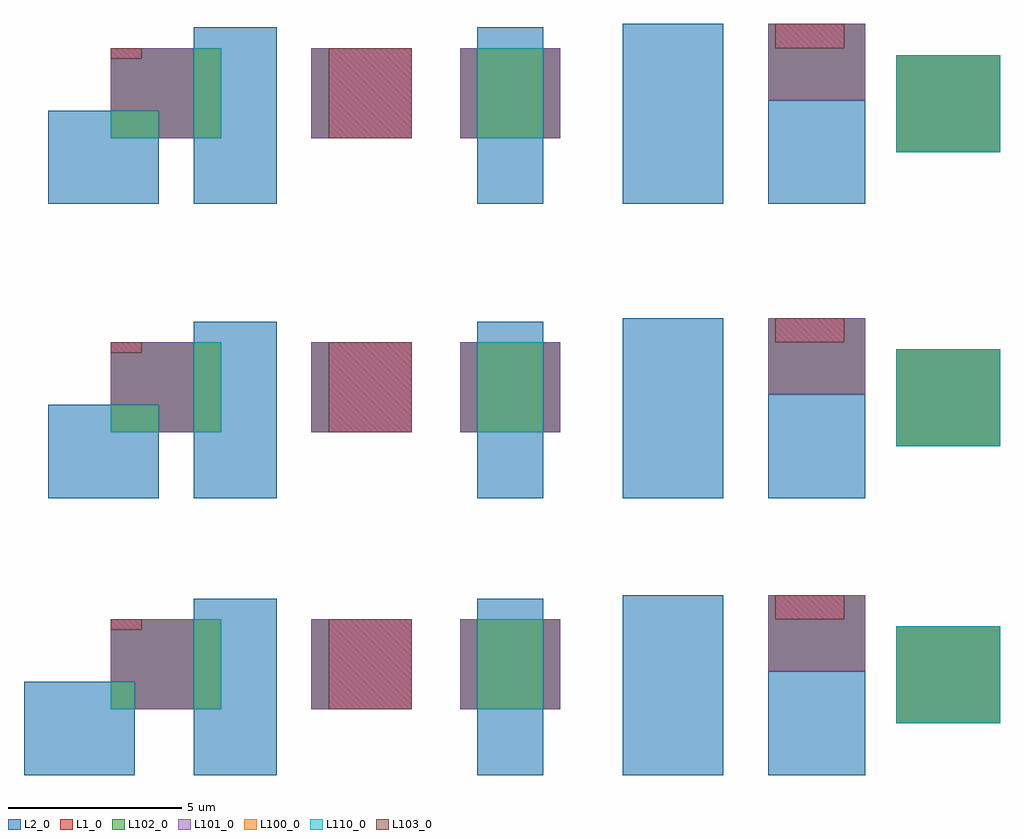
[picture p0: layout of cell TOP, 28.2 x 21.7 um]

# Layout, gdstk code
import gdstk
lib = gdstk.Library(unit=1e-6, precision=1e-09)
def R(c, l, rs):  # rectangles x0, y0, x1, y1
    for r in rs: c.add(gdstk.rectangle(r[:2], r[2:], *l))
def P(c, l, *ps):  # polygons
    for p in ps: c.add(gdstk.Polygon(p, *l))
L1_0 = (1, 0)
L2_0 = (2, 0)
L100_0 = (100, 0)
L101_0 = (101, 0)
L102_0 = (102, 0)
L103_0 = (103, 0)
L110_0 = (110, 0)

child1 = lib.new_cell('CHILD1')
R(child1, L1_0, [(22.7,0,25.7,2.8), (0,0.4,3.2,3), (5.8,0.4,8.7,3), (10.1,0.4,13,3), (19,1.5,21.8,3.7)])
R(child1, L100_0, [(22.7,0,25.7,2.8), (2.4,0.4,3.2,3), (10.6,0.4,12.5,3)])
R(child1, L101_0, [(5.8,0.4,8.7,3), (10.1,0.4,10.6,3), (12.5,0.4,13,3), (19,1.5,21.8,3.7)])
R(child1, L102_0, [(22.7,0,25.7,2.8), (5.8,0.4,6.3,3), (10.1,0.4,13,3)])
P(child1, L102_0, [(19,1.5),(19,3.7),(19.2,3.7),(19.2,3),(21.2,3),(21.2,3.7),(21.8,3.7),(21.8,1.5)],
  [(0,0.4),(0,2.7),(0.9,2.7),(0.9,3),(3.2,3),(3.2,0.4)])
R(child1, L103_0, [(6.3,0.4,8.7,3), (0,2.7,0.9,3), (19.2,3,21.2,3.7)])
R(child1, L110_0, [(22.7,0,25.7,2.8), (2.4,0.4,3.2,3), (10.6,0.4,12.5,3)])

subcell = lib.new_cell('SUBCELL')
R(subcell, L2_0, [(0,0,3.2,2.7), (4.9,0,7.3,5.1), (13.1,0,15,5.1), (17.3,0,20.2,5.2), (21.5,0,24.3,3), (25.2,1.5,28.2,4.3), (0.7,8,3.9,10.7), (4.9,8,7.3,13.1), (13.1,8,15,13.1), (17.3,8,20.2,13.2), (21.5,8,24.3,11), (25.2,9.5,28.2,12.3)])
R(subcell, L100_0, [(2.5,1.9,3.2,2.7), (2.5,9.9,3.9,10.7)])
P(subcell, L101_0, [(3.9,9.9),(3.9,10.7),(2.5,10.7),(2.5,12.5),(4.9,12.5),(4.9,9.9)],
  [(3.2,1.9),(3.2,2.7),(2.5,2.7),(2.5,4.5),(4.9,4.5),(4.9,1.9)])
R(subcell, L110_0, [(2.5,1.9,3.2,2.7), (2.5,9.9,3.9,10.7)])
subcell.add(gdstk.Reference(child1, (2.5,1.5)))
subcell.add(gdstk.Reference(child1, (2.5,9.5)))

top = lib.new_cell('TOP')
R(top, L2_0, [(0,16.5,3.2,19.2), (4.2,16.5,6.6,21.6), (12.4,16.5,14.3,21.6), (16.6,16.5,19.5,21.7), (20.8,16.5,23.6,19.5), (24.5,18,27.5,20.8)])
R(top, L100_0, [(1.8,18.4,3.2,19.2)])
P(top, L101_0, [(3.2,18.4),(3.2,19.2),(1.8,19.2),(1.8,21),(4.2,21),(4.2,18.4)])
R(top, L110_0, [(1.8,18.4,3.2,19.2)])
top.add(gdstk.Reference(child1, (1.8,18)))
top.add(gdstk.Reference(subcell, (-0.7,0)))

lib.write_gds('TOP.gds')
